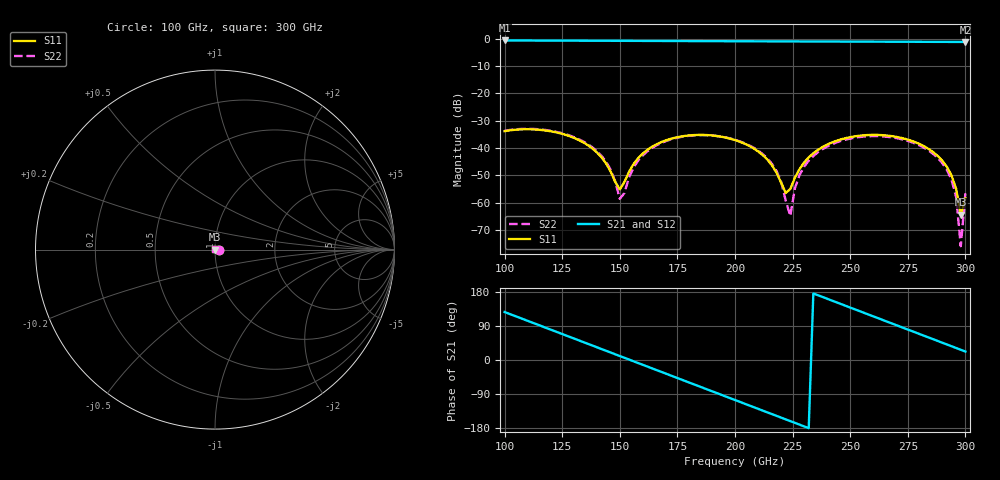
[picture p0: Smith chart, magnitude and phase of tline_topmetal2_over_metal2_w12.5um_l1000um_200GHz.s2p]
#  GHZ S DB R 50
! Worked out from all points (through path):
!   101 points, 100 GHz to 300 GHz, reference 50 ohm
!   highest |S21| = -0.59 dB at 100 GHz (marker M1); lowest = -1.1 dB at 300 GHz (marker M2)
!   group delay of S21, straight-line fit = 6.45 ps
!   lowest |S11| = -64.5 dB at 298 GHz (marker M3), VSWR 1.00, Z = 49.9 - j0.0277 ohm
!   |S11| at or under -10 dB: start of sweep to end of sweep
!   |S22| runs from -76.0 to -33.0 dB; largest |S21 - S12| = 1e-13
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100  -33.82 -0.1  -0.59 126.6  -0.59 126.6  -33.69 -1.3
116  -33.39 -33.0  -0.64 89.4  -0.64 89.4  -33.22 -34.7
134  -37.86 -67.9  -0.69 47.7  -0.69 47.7  -37.53 -71.5
144  -45.59 -78.2  -0.71 24.4  -0.71 24.4  -44.99 -87.4
150  -55.18 -20.9  -0.73 10.5  -0.73 10.5  -58.61 -49.9
158  -43.68 36.0  -0.75 -8.1  -0.75 -8.1  -44.58 40.5
168  -37.82 21.5  -0.78 -31.3  -0.78 -31.3  -38.14 23.3
184  -35.20 -10.9  -0.83 -68.5  -0.83 -68.5  -35.28 -10.9
200  -37.08 -43.7  -0.88 -105.6  -0.88 -105.6  -36.98 -45.6
216  -46.29 -66.6  -0.92 -142.7  -0.92 -142.7  -45.75 -77.6
222  -56.44 -22.6  -0.94 -156.6  -0.94 -156.6  -59.21 -73.0
224  -55.01 23.7  -0.95 -161.3  -0.95 -161.3  -64.85 32.8
226  -50.92 43.5  -0.95 -165.9  -0.95 -165.9  -54.74 62.4
228  -47.71 49.1  -0.96 -170.5  -0.96 -170.5  -49.92 63.6
234  -41.92 46.1  -0.97 175.6  -0.97 175.6  -42.92 54.4
248  -36.39 19.5  -1.00 143.1  -1.00 143.1  -36.92 24.3
268  -35.64 -25.3  -1.06 96.6  -1.06 96.6  -36.09 -21.6
282  -39.33 -58.6  -1.09 64.1  -1.09 64.1  -39.88 -54.5
292  -46.94 -85.6  -1.12 40.9  -1.12 40.9  -48.05 -78.8
296  -55.01 -105.2  -1.13 31.6  -1.13 31.6  -58.05 -91.5
298  -64.46 -152.4  -1.14 27.0  -1.14 27.0  -75.95 130.2
300  -58.41 107.7  -1.14 22.4  -1.14 22.4  -56.57 88.1
